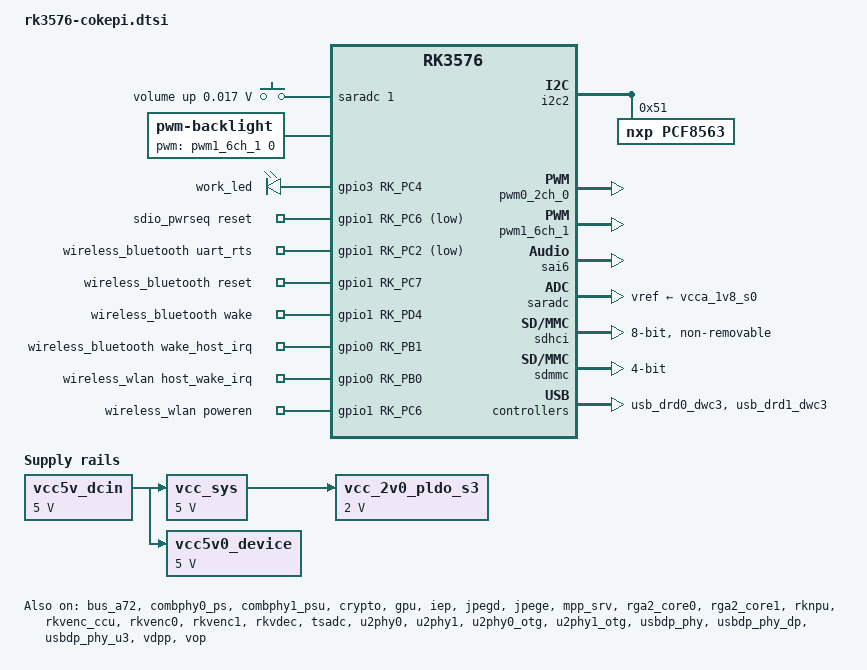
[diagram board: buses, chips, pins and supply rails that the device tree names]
// SPDX-License-Identifier: (GPL-2.0+ OR MIT)
/*
 * Copyright (c) 2024 Rockchip Electronics Co., Ltd.
 *
 */

#include <dt-bindings/gpio/gpio.h>
#include <dt-bindings/pwm/pwm.h>
#include <dt-bindings/pinctrl/rockchip.h>
#include <dt-bindings/input/rk-input.h>
#include <dt-bindings/display/drm_mipi_dsi.h>
#include <dt-bindings/display/rockchip_vop.h>
#include <dt-bindings/sensor-dev.h>

/ {
	adc_keys: adc-keys {
		compatible = "adc-keys";
		io-channels = <&saradc 1>;
		io-channel-names = "buttons";
		keyup-threshold-microvolt = <1800000>;
		poll-interval = <100>;

		vol-up-key {
			label = "volume up";
			linux,code = <KEY_VOLUMEUP>;
			press-threshold-microvolt = <17000>;
		};
	};

	backlight: backlight {
		compatible = "pwm-backlight";
		pwms = <&pwm1_6ch_1 0 25000 0>;
		brightness-levels = <
			  0  20  20  21  21  22  22  23
			 23  24  24  25  25  26  26  27
			 27  28  28  29  29  30  30  31
			 31  32  32  33  33  34  34  35
			 35  36  36  37  37  38  38  39
			 40  41  42  43  44  45  46  47
			 48  49  50  51  52  53  54  55
			 56  57  58  59  60  61  62  63
			 64  65  66  67  68  69  70  71
			 72  73  74  75  76  77  78  79
			 80  81  82  83  84  85  86  87
			 88  89  90  91  92  93  94  95
			 96  97  98  99 100 101 102 103
			104 105 106 107 108 109 110 111
			112 113 114 115 116 117 118 119
			120 121 122 123 124 125 126 127
			128 129 130 131 132 133 134 135
			136 137 138 139 140 141 142 143
			144 145 146 147 148 149 150 151
			152 153 154 155 156 157 158 159
			160 161 162 163 164 165 166 167
			168 169 170 171 172 173 174 175
			176 177 178 179 180 181 182 183
			184 185 186 187 188 189 190 191
			192 193 194 195 196 197 198 199
			200 201 202 203 204 205 206 207
			208 209 210 211 212 213 214 215
			216 217 218 219 220 221 222 223
			224 225 226 227 228 229 230 231
			232 233 234 235 236 237 238 239
			240 241 242 243 244 245 246 247
			248 249 250 251 252 253 254 255
		>;
		default-brightness-level = <200>;
	};

	dp0_sound: dp0-sound {
		status = "disabled";
		compatible = "rockchip,hdmi";
		rockchip,mclk-fs = <512>;
		rockchip,card-name = "rockchip-dp0";
		rockchip,cpu = <&spdif_tx3>;
		rockchip,codec = <&dp0 1>;
		rockchip,jack-det;
	};

	dp1_sound: dp1-sound {
		status = "disabled";
		compatible = "rockchip,hdmi";
		rockchip,mclk-fs = <512>;
		rockchip,card-name = "rockchip-dp1";
		rockchip,cpu = <&spdif_tx3>;
		rockchip,codec = <&dp1 1>;
		rockchip,jack-det;
	};

	dp2_sound: dp2-sound {
		status = "disabled";
		compatible = "rockchip,hdmi";
		rockchip,mclk-fs = <512>;
		rockchip,card-name = "rockchip-dp2";
		rockchip,cpu = <&spdif_tx3>;
		rockchip,codec = <&dp2 1>;
		rockchip,jack-det;
	};

	edp_sound: edp-sound {
		status = "disabled";
		compatible = "rockchip,hdmi";
		rockchip,mclk-fs = <128>;
		rockchip,card-name = "rockchip-edp";
		rockchip,cpu = <&sai6>;
		rockchip,codec = <&edp 0>;
	};

	hdmi_sound: hdmi-sound {
		compatible = "rockchip,hdmi";
		rockchip,mclk-fs = <128>;
		rockchip,card-name = "rockchip-hdmi";
		rockchip,cpu = <&sai6>;
		rockchip,codec = <&hdmi>;
		rockchip,jack-det;
	};

	leds: leds {
		compatible = "gpio-leds";
		work_led: work {
			gpios = <&gpio3 RK_PC4 GPIO_ACTIVE_HIGH>;
			linux,default-trigger = "heartbeat";
		};
	};

	vcc5v_dcin: vcc5v-dcin {
		compatible = "regulator-fixed";
		regulator-name = "vcc5v_dcin";
		regulator-always-on;
		regulator-boot-on;
		regulator-min-microvolt = <5000000>;
		regulator-max-microvolt = <5000000>;
	};

	vcc_sys: vcc5v0-sys {
		compatible = "regulator-fixed";
		regulator-name = "vcc_sys";
		regulator-always-on;
		regulator-boot-on;
		regulator-min-microvolt = <5000000>;
		regulator-max-microvolt = <5000000>;
		vin-supply = <&vcc5v_dcin>;
	};

	vcc5v0_device: vcc5v0-device {
		compatible = "regulator-fixed";
		regulator-name = "vcc5v0_device";
		regulator-always-on;
		regulator-boot-on;
		regulator-min-microvolt = <5000000>;
		regulator-max-microvolt = <5000000>;
		vin-supply = <&vcc5v_dcin>;
	};

	vcc_2v0_pldo_s3: vcc-2v0-pldo-s3 {
		compatible = "regulator-fixed";
		regulator-name = "vcc_2v0_pldo_s3";
		regulator-boot-on;
		regulator-always-on;
		regulator-min-microvolt = <2000000>;
		regulator-max-microvolt = <2000000>;
		vin-supply = <&vcc_sys>;
	};

	sdio_pwrseq: sdio-pwrseq {
		compatible = "mmc-pwrseq-simple";
		clocks = <&xin32k>; /*pcf8563*/
		clock-names = "ext_clock";
		pinctrl-names = "default";
		pinctrl-0 = <&wifi_poweren_gpio>;

		/*
		 * On the module itself this is one of these (depending
		 * on the actual card populated):
		 * - SDIO_RESET_L_WL_REG_ON
		 * - PDN (power down when low)
		 */
		post-power-on-delay-ms = <200>;
		reset-gpios = <&gpio1 RK_PC6 GPIO_ACTIVE_LOW>;
	};

	wireless_bluetooth: wireless-bluetooth {
		compatible = "bluetooth-platdata";
		bt_port = "/dev/ttyS4";
		uart_rts_gpios = <&gpio1 RK_PC2 GPIO_ACTIVE_LOW>;
		pinctrl-names = "default", "rts_gpio";
		pinctrl-0 = <&uart4m1_rtsn>, <&bt_reset_gpio>, <&bt_wake_gpio>, <&bt_irq_gpio>;
		pinctrl-1 = <&uart4_gpios>;
		BT,reset_gpio    = <&gpio1 RK_PC7 GPIO_ACTIVE_HIGH>;
		BT,wake_gpio     = <&gpio1 RK_PD4 GPIO_ACTIVE_HIGH>;
		BT,wake_host_irq = <&gpio0 RK_PB1 GPIO_ACTIVE_HIGH>;
		status = "okay";
	};

	wireless_wlan: wireless-wlan {
		compatible = "wlan-platdata";
		wifi_chip_type = "ap6275p";
		pinctrl-names = "default";
		pinctrl-0 = <&wifi_host_wake_irq>;
		WIFI,host_wake_irq = <&gpio0 RK_PB0 GPIO_ACTIVE_HIGH>;
		WIFI,poweren_gpio = <&gpio1 RK_PC6 GPIO_ACTIVE_HIGH>;
		status = "okay";
	};
};

&bus_a72 {
	bus-supply = <&vdd_logic_s0>;
	pvtm-supply = <&vdd_logic_s0>;
	status = "okay";
};

&combphy0_ps {
	status = "okay";
};

&combphy1_psu {
	status = "okay";
};

&cpu_l0 {
	cpu-supply = <&vdd_cpu_lit_s0>;
};

&cpu_b0 {
	cpu-supply = <&vdd_cpu_big_s0>;
};

&crypto {
	status = "okay";
};

&display_subsystem {
	clocks = <&hdptxphy_hdmi>;
	clock-names = "hdmi0_phy_pll";
};

&gpu {
	mali-supply = <&vdd_gpu_s0>;
	status = "okay";
};

&i2c2 {
	status = "okay";

	pcf8563: pcf8563@51 {
		compatible = "nxp,pcf8563";
		reg = <0x51>;
		status = "okay";
		/*
		#clock-cells = <0>;
		clock-frequency = <32768>;
		clock-output-names = "pcf8563";
		*/
	};
};

&iep {
	status = "okay";
};

&iep_mmu {
	status = "okay";
};

&jpegd {
	status = "okay";
};

&jpege {
	status = "okay";
};

&jpeg_mmu {
	status = "okay";
};

&mpp_srv {
	status = "okay";
};

&pinctrl {
	wireless-bluetooth {
		uart4_gpios: uart4-gpios {
			rockchip,pins = <1 RK_PC2 RK_FUNC_GPIO &pcfg_pull_none>;
		};
		bt_reset_gpio: bt-reset-gpio {
			rockchip,pins = <1 RK_PC7 RK_FUNC_GPIO &pcfg_pull_none>;
		};

		bt_wake_gpio: bt-wake-gpio {
			rockchip,pins = <1 RK_PD4 RK_FUNC_GPIO &pcfg_pull_none>;
		};

		bt_irq_gpio: bt-irq-gpio {
			rockchip,pins = <0 RK_PB1 RK_FUNC_GPIO &pcfg_pull_down>;
		};
	};

	wireless-wlan {
		wifi_host_wake_irq: wifi-host-wake-irq {
			rockchip,pins = <0 RK_PB0 RK_FUNC_GPIO &pcfg_pull_down>;
		};

		wifi_poweren_gpio: wifi-poweren-gpio {
			rockchip,pins = <1 RK_PC6 RK_FUNC_GPIO &pcfg_pull_up>;
		};
	};
};

&pwm0_2ch_0 { /* FAN */
	status = "okay";
	pinctrl-0 = <&pwm0m0_ch0>;
};

&pwm1_6ch_1 {
	status = "okay";
	pinctrl-0 = <&pwm1m0_ch1>;
};

&rga2_core0 {
	status = "okay";
};

&rga2_core0_mmu {
	status = "okay";
};

&rga2_core1 {
	status = "okay";
};

&rga2_core1_mmu {
	status = "okay";
};

&rknpu {
	rknpu-supply = <&vdd_npu_s0>;
	status = "okay";
};

&rknpu_mmu {
	status = "okay";
};

&rkvenc_ccu {
	status = "okay";
};

&rkvenc0 {
	status = "okay";
};

&rkvenc0_mmu {
	status = "okay";
};

&rkvenc1 {
	status = "okay";
};

&rkvenc1_mmu {
	status = "okay";

};

&rkvdec {
	status = "okay";
};

&rkvdec_mmu {
	status = "okay";
};

&rockchip_suspend {
	status = "okay";
	rockchip,sleep-debug-en = <1>;

	rockchip,sleep-io-ret-config = <
		(0
		| RKPM_VCCIO3_RET_EN
		)
	>;

	rockchip,regulator-on-before-mem = <&vdd_npu_s0>;
};

&sai6 {
	status = "okay";
};

&saradc {
	status = "okay";
	vref-supply = <&vcca_1v8_s0>;
};

&sdhci {
	bus-width = <8>;
	no-sdio;
	no-sd;
	non-removable;
	max-frequency = <200000000>;
	mmc-hs400-1_8v;
	mmc-hs400-enhanced-strobe;
	full-pwr-cycle-in-suspend;
	status = "okay";
};

&sdmmc {
	max-frequency = <200000000>;
	no-sdio;
	no-mmc;
	bus-width = <4>;
	cap-mmc-highspeed;
	cap-sd-highspeed;
	disable-wp;
	sd-uhs-sdr104;
	vqmmc-supply = <&vccio_sd_s0>;
	status = "okay";
};

&tsadc {
	status = "okay";
};

&u2phy0 {
	status = "okay";
};

&u2phy1 {
	status = "okay";
};

&u2phy0_otg {
	status = "okay";
};

&u2phy1_otg {
	status = "okay";
};

&usbdp_phy {
	status = "okay";
};

&usbdp_phy_dp {
	status = "okay";
};

&usbdp_phy_u3 {
	status = "okay";
};

&usb_drd0_dwc3 {
	status = "okay";
};

&usb_drd1_dwc3 {
	status = "okay";
};

&vdpp {
	status = "okay";
};

&vop {
	status = "okay";
	vop-supply = <&vdd_logic_s0>;
};

&vop_mmu {
	status = "okay";
};

&vp2 {
	assigned-clocks = <&cru DCLK_VP2_SRC>;
	assigned-clock-parents = <&cru PLL_VPLL>;
};
